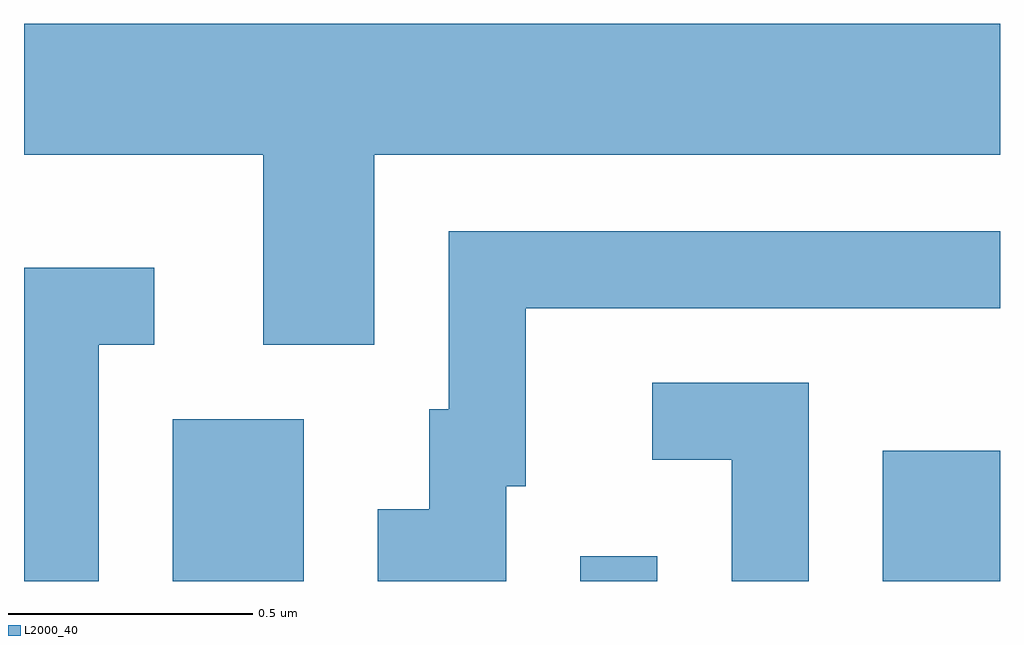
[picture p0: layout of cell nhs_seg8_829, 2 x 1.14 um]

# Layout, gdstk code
import gdstk
lib = gdstk.Library(unit=1e-6, precision=1e-09)
def R(c, l, rs):  # rectangles x0, y0, x1, y1
    for r in rs: c.add(gdstk.rectangle(r[:2], r[2:], *l))
def P(c, l, *ps):  # polygons
    for p in ps: c.add(gdstk.Polygon(p, *l))
L2000_40 = (2000, 40)

nhs_seg8_829 = lib.new_cell('nhs_seg8_829')
R(nhs_seg8_829, L2000_40, [(191.916,1813.342,192.184,1813.674), (192.751,1813.342,192.909,1813.393), (193.371,1813.342,193.611,1813.609)])
P(nhs_seg8_829, L2000_40, [(192.329,1814.216),(193.611,1814.216),(193.611,1814.484),(191.611,1814.484),(191.611,1814.216),(192.101,1814.216),(192.101,1813.826),(192.329,1813.826)],
  [(192.599,1813.536),(192.639,1813.536),(192.639,1813.901),(193.611,1813.901),(193.611,1814.059),(192.481,1814.059),(192.481,1813.694),(192.441,1813.694),(192.441,1813.489),(192.336,1813.489),(192.336,1813.342),(192.599,1813.342)],
  [(191.764,1813.826),(191.878,1813.826),(191.878,1813.984),(191.611,1813.984),(191.611,1813.342),(191.764,1813.342)],
  [(193.219,1813.749),(192.898,1813.749),(192.898,1813.591),(193.061,1813.591),(193.061,1813.342),(193.219,1813.342)])

lib.write_gds('nhs_seg8_829.gds')
